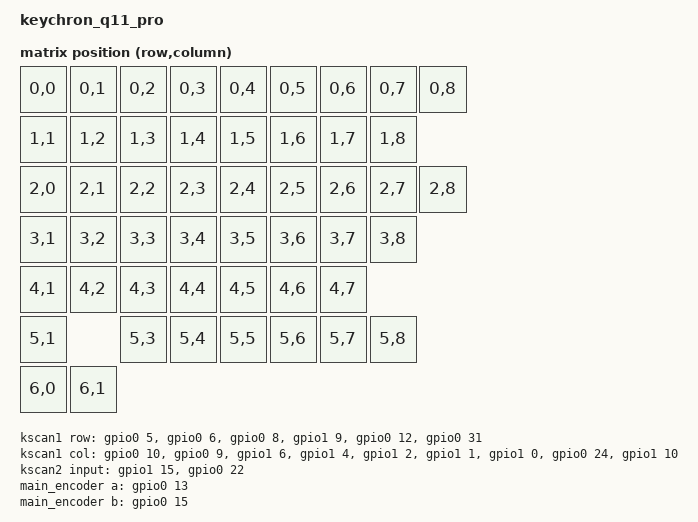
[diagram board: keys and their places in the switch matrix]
/*
 * Copyright (c) 2023 The ZMK Contributors
 *
 * SPDX-License-Identifier: MIT
 */

/dts-v1/;
#include <nordic/nrf52840_qiaa.dtsi>
#include <dt-bindings/zmk/ckled2001.h>
#include <dt-bindings/zmk/matrix_transform.h>

/ {
    model = "keychron_q11_pro";
    compatible = "keychron,q11_pro";

    chosen {
        zephyr,code-partition = &code_partition;
        zephyr,sram = &sram0;
        zephyr,flash = &flash0;
        zephyr,console = &cdc_acm_uart; //&cdc_acm_uart;
        zmk,matrix_transform = &default_transform;
        zmk,battery = &vbatt;
        zmk,kscan = &kscan0;
        zmk,underglow = &led_strip;
    };

    default_transform: keymap_transform_0 {
        compatible = "zmk,matrix-transform";
        // columns = <1>;
        // rows = <1>;
        // columns = <7>;
        // rows = <6>;
        // map = <
        // RC(0,0)    RC(0,1)    RC(0,2)    RC(0,3)    RC(0,4)    RC(0,5)    RC(0,6)    RC(0,7)
        // RC(1,0)    RC(1,1)    RC(1,2)    RC(1,3)    RC(1,4)    RC(1,5)    RC(1,6)    RC(1,7)
        // RC(2,0)      RC(2,1)    RC(2,2)    RC(2,3)    RC(2,4)    RC(2,5)    RC(2,6)
        // RC(3,0)      RC(3,1)      RC(3,2)    RC(3,3)    RC(3,4)    RC(3,5)    RC(3,6)
        // RC(4,0)      RC(4,1)        RC(4,2)    RC(4,3)    RC(4,4)    RC(4,5)    RC(4,6)
        // RC(5,0)    RC(5,1)     RC(5,2)     RC(5,3)     RC(5,4)         RC(5,5)
        // >;
        columns = <9>;
        rows = <7>;
        map = <
        RC(0,0) RC(0,1) RC(0,2) RC(0,3) RC(0,4) RC(0,5) RC(0,6) RC(0,7) RC(0,8)
        RC(1,1) RC(1,2) RC(1,3) RC(1,4) RC(1,5) RC(1,6) RC(1,7) RC(1,8)
        RC(2,0) RC(2,1) RC(2,2) RC(2,3) RC(2,4) RC(2,5) RC(2,6) RC(2,7) RC(2,8)
        RC(3,1) RC(3,2) RC(3,3) RC(3,4) RC(3,5) RC(3,6) RC(3,7) RC(3,8)
        RC(4,1) RC(4,2) RC(4,3) RC(4,4) RC(4,5) RC(4,6) RC(4,7)
        RC(5,1)         RC(5,3) RC(5,4) RC(5,5) RC(5,6) RC(5,7) RC(5,8)
        RC(6,0) RC(6,1)
        >;
        // map = <
        //     RC(0, 0)
        // >;
    };

    // Following keyboard scan composite driver as per: https: //zmk.dev/docs/config/kscan#example-configuration
    kscan0: kscan_composite {
        compatible = "zmk,kscan-composite";
        label = "KSCAN0";
        columns = <9>;
        rows = <7>;
        matrix {
            kscan = <&kscan1>;
        };
        direct {
            kscan = <&kscan2>;
            row-offset = <6>;
        };
    };

    // Keyboard switch matrix
    kscan1: kscan_matrix {
        compatible = "zmk,kscan-gpio-matrix";
        label = "KSCAN";
        diode-direction = "col2row";

        col-gpios
        = <&gpio0 10 (GPIO_ACTIVE_HIGH)> // L_COL_1
        , <&gpio0 9 (GPIO_ACTIVE_HIGH)>  // L_COL_2
        , <&gpio1 6 (GPIO_ACTIVE_HIGH)>  // L_COL_3
        , <&gpio1 4 (GPIO_ACTIVE_HIGH)>  // L_COL_4
        , <&gpio1 2 (GPIO_ACTIVE_HIGH)>  // L_COL_5
        , <&gpio1 1 (GPIO_ACTIVE_HIGH)>  // L_COL_6
        , <&gpio1 0 (GPIO_ACTIVE_HIGH)>  // L_COL_7
        , <&gpio0 24 (GPIO_ACTIVE_HIGH)> // L_COL_8
        , <&gpio1 10 (GPIO_ACTIVE_HIGH)> // L_COL_9
        ;

        row-gpios
        = <&gpio0 5  (GPIO_ACTIVE_HIGH | GPIO_PULL_DOWN)>  // L_ROW_1
        , <&gpio0 6  (GPIO_ACTIVE_HIGH | GPIO_PULL_DOWN)>  // L_ROW_2
        , <&gpio0 8  (GPIO_ACTIVE_HIGH | GPIO_PULL_DOWN)>  // L_ROW_3
        , <&gpio1 9  (GPIO_ACTIVE_HIGH | GPIO_PULL_DOWN)>  // L_ROW_4
        , <&gpio0 12 (GPIO_ACTIVE_HIGH | GPIO_PULL_DOWN)> // L_ROW_5
        , <&gpio0 31 (GPIO_ACTIVE_HIGH | GPIO_PULL_DOWN)> // L_ROW_6
        ;
    };

    // Direct GPIO scanning
    kscan2: kscan_direct {
        compatible = "zmk,kscan-gpio-direct";
        toggle-mode;
        input-gpios
        // MAC/WIN toggle
        = <&gpio1 15 (GPIO_ACTIVE_LOW | GPIO_PULL_UP)>
        // SEL toggle
        // @TODO: check SEL toggle voltage levels and UX
        , <&gpio0 22 (GPIO_ACTIVE_LOW | GPIO_PULL_UP)>
        ;
    };

    // @TODO: Implement https: //zmk.dev/docs/behaviors/power
    // External power toggle for SDB pin on CKLED
    // ext-power {
    //         compatible = "zmk,ext-power-generic";
    //         label = "EXT_POWER";
    //         control-gpios = <&gpio1 13 GPIO_ACTIVE_HIGH>;
    //         init-delay-ms = <0>; // Optimize init delay time
    // };

    // EC11 Encoder
    main_encoder: encoder_main {
        compatible = "alps,ec11";
        label = "MAIN_ENCODER";
        status = "disabled";
        a-gpios = <&gpio0 13 (GPIO_ACTIVE_HIGH | GPIO_PULL_UP)>;
        b-gpios = <&gpio0 15 (GPIO_ACTIVE_HIGH | GPIO_PULL_UP)>;
        resolution = <4>;
        steps = <80>;
    };

    // EC11 Encoder binding
    sensors {
        compatible = "zmk,keymap-sensors";
        sensors = <&main_encoder>;
    };

    // Voltage divider circuit to AIN0
    vbatt: vbatt {
        compatible = "zmk,battery-voltage-divider";
        label = "BATTERY";
        io-channels = <&adc 0>;  // AIN0
        output-ohms = <1000000>; // 1M
        full-ohms = <(1000000 + 1000000)>; // 1M + 1M
    };
};

&adc {
    status = "okay";
};

&gpiote {
    status = "okay";
};

&gpio0 {
    status = "okay";
};

&gpio1 {
    status = "okay";
};

&pinctrl {
    i2c0_default: i2c0_default {
        group1 {
            psels = <NRF_PSEL(TWIM_SDA, 0, 26)>,
                    <NRF_PSEL(TWIM_SCL, 0, 27)>;
        };
    };

    i2c0_sleep: i2c0_sleep {
        group1 {
            psels = <NRF_PSEL(TWIM_SDA, 0, 26)>,
                    <NRF_PSEL(TWIM_SCL, 0, 27)>;
            low-power-enable;
        };
    };
};

&i2c0 {
    compatible = "nordic,nrf-twi";
    pinctrl-0 = <&i2c0_default>;
    pinctrl-1 = <&i2c0_sleep>;
    pinctrl-names = "default", "sleep";
    status = "okay";

    // Standard I2C speed of 400kHz
    clock-frequency = <DT_FREQ_K(400)>;

    led_strip: ckled2001@74 {
        compatible = "zmk,ckled2001";
        label = "LED_STRIP";
        reg = <0x74>;
        // ALL CALL
        chain-length = < 64 >;
        map = <
        CK(0, 0) CK(1, 0) CK(2, 0)
        CK(3, 0) CK(4, 0) CK(5, 0)
        CK(6, 0) CK(7, 0) CK(8, 0)
        CK(9, 0) CK(10, 0) CK(11, 0)

        CK(0, 1) CK(1, 1) CK(2, 1)
        CK(3, 1) CK(4, 1) CK(5, 1)
        CK(6, 1) CK(7, 1) CK(8, 1)
        CK(9, 1) CK(10, 1) CK(11, 1)

        CK(0, 2) CK(1, 2) CK(2, 2)
        CK(3, 2) CK(4, 2) CK(5, 2)
        CK(6, 2) CK(7, 2) CK(8, 2)
        CK(9, 2) CK(10, 2) CK(11, 2)

        CK(0, 3) CK(1, 3) CK(2, 3)
        CK(3, 3) CK(4, 3) CK(5, 3)
        CK(6, 3) CK(7, 3) CK(8, 3)
        CK(9, 3) CK(10, 3) CK(11, 3)

        CK(0, 4) CK(1, 4) CK(2, 4)
        CK(3, 4) CK(4, 4) CK(5, 4)
        CK(6, 4) CK(7, 4) CK(8, 4)
        CK(9, 4) CK(10, 4) CK(11, 4)

        CK(0, 5) CK(1, 5) CK(2, 5)
        CK(3, 5) CK(4, 5) CK(5, 5)
        CK(6, 5) CK(7, 5) CK(8, 5)
        CK(9, 5) CK(10, 5) CK(11, 5)

        CK(0, 6) CK(1, 6) CK(2, 6)
        CK(3, 6) CK(4, 6) CK(5, 6)
        CK(6, 6) CK(7, 6) CK(8, 6)
        CK(9, 6) CK(10, 6) CK(11, 6)

        CK(0, 7) CK(1, 7) CK(2, 7)
        CK(3, 7) CK(4, 7) CK(5, 7)
        CK(6, 7) CK(7, 7) CK(8, 7)
        CK(9, 7) CK(10, 7) CK(11, 7)

        CK(0, 8) CK(1, 8) CK(2, 8)
        CK(3, 8) CK(4, 8) CK(5, 8)
        CK(6, 8) CK(7, 8) CK(8, 8)
        CK(9, 8) CK(10, 8) CK(11, 8)

        CK(0, 9) CK(1, 9) CK(2, 9)
        CK(3, 9) CK(4, 9) CK(5, 9)
        CK(6, 9) CK(7, 9) CK(8, 9)
        CK(9, 9) CK(10, 9) CK(11, 9)

        CK(0, 10) CK(1, 10) CK(2, 10)
        CK(3, 10) CK(4, 10) CK(5, 10)
        CK(6, 10) CK(7, 10) CK(8, 10)
        CK(9, 10) CK(10, 10) CK(11, 10)

        CK(0, 11) CK(1, 11) CK(2, 11)
        CK(3, 11) CK(4, 11) CK(5, 11)
        CK(6, 11) CK(7, 11) CK(8, 11)
        CK(9, 11) CK(10, 11) CK(11, 11)

        CK(0, 12) CK(1, 12) CK(2, 12)
        CK(3, 12) CK(4, 12) CK(5, 12)
        CK(6, 12) CK(7, 12) CK(8, 12)
        CK(9, 12) CK(10, 12) CK(11, 12)

        CK(0, 13) CK(1, 13) CK(2, 13)
        CK(3, 13) CK(4, 13) CK(5, 13)
        CK(6, 13) CK(7, 13) CK(8, 13)
        CK(9, 13) CK(10, 13) CK(11, 13)
        >;

        // // RIGHT CONFIG
        // chain-length = <47>;
        // map = <
        // /* ROW 0 */
        // /* Configuration: CK(SW, CS) */
        // /*   R        G        B */
        // CK(0, 12) CK(1, 12)  CK(2, 12)
        // CK(3, 13) CK(4, 12)  CK(5, 12)
        // CK(6, 13) CK(7, 12)  CK(8, 12)
        // CK(9, 13) CK(10, 12) CK(11, 12)

        // CK(0, 6) CK(1, 6) CK(2, 6)
        // CK(3, 6) CK(4, 6) CK(5, 6)
        // CK(6, 6) CK(7, 6) CK(8, 6)
        // /* ROW 1 */
        // /*   R        G        B */
        // CK(0, 11) CK(1, 11) CK(2, 11)
        // CK(3, 11) CK(4, 11) CK(5, 11)
        // CK(6, 11) CK(7, 11) CK(8, 11)
        // CK(9, 11) CK(10, 11) CK(11, 11)

        // CK(0, 5) CK(1, 5) CK(2, 5)
        // CK(3, 6) CK(4, 5) CK(5, 5)
        // CK(6, 6) CK(7, 5) CK(8, 5)
        // /* ROW 2 */
        // /*   R        G        B */
        // CK(0, 10) CK(1, 10) CK(2, 10)
        // CK(3, 10) CK(4, 10) CK(5, 10)
        // CK(6, 10) CK(7, 10) CK(8, 10)
        // CK(9, 10) CK(10, 10) CK(11, 10)

        // CK(0, 4) CK(1, 4) CK(2, 4)
        // CK(3, 4) CK(4, 4) CK(5, 4)
        // CK(6, 4) CK(7, 4) CK(8, 4)
        // CK(9, 4) CK(10, 4) CK(11, 4)

        // /* ROW 3 */
        // /*   R        G        B */
        // CK(0, 9) CK(1, 9) CK(2, 9)
        // CK(3, 9) CK(4, 9) CK(5, 9)
        // CK(6, 9) CK(7, 9) CK(8, 9)
        // CK(9, 9) CK(10, 9) CK(11, 9)

        // CK(0, 3) CK(1, 3) CK(2, 3)
        // CK(3, 3) CK(4, 3) CK(5, 3)
        // CK(6, 3) CK(7, 3) CK(8, 3)
        // /* ROW 4 */
        // /*   R        G        B */
        // CK(0, 8) CK(1, 8) CK(2, 8)
        // CK(3, 8) CK(4, 8) CK(5, 8)
        // CK(6, 8) CK(7, 8) CK(8, 8)
        // CK(9, 8) CK(10, 8) CK(11, 8)

        // CK(0, 2) CK(1, 2) CK(2, 2)
        // CK(3, 2) CK(4, 2) CK(5, 2)
        // CK(6, 2) CK(7, 2) CK(8, 2)
        // CK(9, 2) CK(10, 2) CK(11, 2)

        // /* ROW 5 */
        // /*   R        G        B */
        // CK(0, 7) CK(1, 7) CK(2, 7)
        // CK(3, 7) CK(4, 7) CK(5, 7)
        // CK(6, 7) CK(7, 7) CK(8, 7)

        // CK(0, 1) CK(1, 1) CK(2, 1)
        // CK(3, 1) CK(4, 1) CK(5, 1)
        // CK(6, 1) CK(7, 1) CK(8, 1)
        // CK(9, 1) CK(10, 1) CK(11, 1)

        // /* Side Keys */
        // /*   R        G        B */
        // CK(0, 0) CK(1, 0) CK(2, 0)
        // CK(3, 0) CK(4, 0) CK(5, 0)
        // CK(6, 0) CK(7, 0) CK(8, 0)
        // >;

        // LEFT CONFIG
        // chain-length = <42>;
        // map = <
        // /* ROW 0 */
        // /* Configuration: CK(SW, CS) */
        // /*   R        G        B */
        // CK(0, 13) CK(1, 13)  CK(2, 13)
        // CK(3, 13) CK(4, 13)  CK(5, 13)
        // CK(6, 13) CK(7, 13)  CK(8, 13)
        // CK(9, 13) CK(10, 13) CK(11, 13)

        // CK(0, 7) CK(1, 7) CK(2, 7)
        // CK(3, 7) CK(4, 7) CK(5, 7)
        // CK(6, 7) CK(7, 7) CK(8, 7)
        // /* ROW 1 */
        // /*   R        G        B */
        // CK(0, 12) CK(1, 12) CK(2, 12)
        // CK(3, 12) CK(4, 12) CK(5, 12)
        // CK(6, 12) CK(7, 12) CK(8, 12)
        // CK(9, 12) CK(10, 12) CK(11, 12)

        // CK(0, 6) CK(1, 6) CK(2, 6)
        // CK(3, 6) CK(4, 6) CK(5, 6)
        // CK(6, 6) CK(7, 6) CK(8, 6)
        // /* ROW 2 */
        // /*   R        G        B */
        // CK(0, 11) CK(1, 11) CK(2, 11)
        // CK(3, 11) CK(4, 11) CK(5, 11)
        // CK(6, 11) CK(7, 11) CK(8, 11)
        // CK(9, 11) CK(10, 11) CK(11, 11)

        // CK(0, 5) CK(1, 5) CK(2, 5)
        // CK(3, 5) CK(4, 5) CK(5, 5)

        // /* ROW 3 */
        // /*   R        G        B */
        // CK(0, 10) CK(1, 10) CK(2, 10)
        // CK(3, 10) CK(4, 10) CK(5, 10)
        // CK(6, 10) CK(7, 10) CK(8, 10)
        // CK(9, 10) CK(10, 10) CK(11, 10)

        // CK(0, 4) CK(1, 4) CK(2, 4)
        // CK(3, 4) CK(4, 4) CK(5, 4)
        // /* ROW 4 */
        // /*   R        G        B */
        // CK(0, 9) CK(1, 9) CK(2, 9)
        // CK(3, 9) CK(4, 9) CK(5, 9)
        // CK(6, 9) CK(7, 9) CK(8, 9)
        // CK(9, 9) CK(10, 9) CK(11, 9)

        // CK(0, 3) CK(1, 3) CK(2, 3)
        // CK(3, 3) CK(4, 3) CK(5, 3)
        // /* ROW 5 */
        // /*   R        G        B */
        // CK(0, 8) CK(1, 8) CK(2, 8)
        // CK(3, 8) CK(4, 8) CK(5, 8)
        // CK(6, 8) CK(7, 8) CK(8, 8)
        // CK(9, 8) CK(10, 8) CK(11, 8)

        // CK(0, 2) CK(1, 2) CK(2, 2)
        // /* M1 - M5 */
        // /*   R        G        B */
        // CK(0, 1) CK(1, 1) CK(2, 1)
        // CK(3, 1) CK(4, 1) CK(5, 1)
        // CK(6, 1) CK(7, 1) CK(8, 1)
        // CK(9, 1) CK(10, 1) CK(11, 1)

        // CK(0, 0) CK(1, 0) CK(2, 0)
        // >;
    };
};

// USB (UART) debugging
&usbd {
    status = "okay";
    cdc_acm_uart: cdc_acm_uart {
        compatible = "zephyr,cdc-acm-uart";
        label = "CDC_ACM_0";
    };
};

// @TODO: perhaps more storage space storage parition not used
&flash0 {
    /*
     * For more information, see:
     * http: //docs.zephyrproject.org/latest/devices/dts/flash_partitions.html
     */
    partitions {
        compatible = "fixed-partitions";
        #address-cells = <1>;
        #size-cells = <1>;

        sd_partition: partition@0 {
            label = "softdevice";
            reg = <0x00000000 0x00026000>;
        };
        code_partition: partition@26000 {
            label = "code_partition";
            reg = <0x00026000 0x000c6000>;
        };

        /*
         * The flash starting at 0x000ec000 and ending at
         * 0x000f3fff is reserved for use by the application.
         */

        /*
         * Storage partition will be used by FCB/LittleFS/NVS
         * if enabled.
         */
        storage_partition: partition@ec000 {
            label = "storage";
            reg = <0x000ec000 0x00008000>;
        };

        boot_partition: partition@f4000 {
            label = "adafruit_boot";
            reg = <0x000f4000 0x0000c000>;
        };
    };
};
